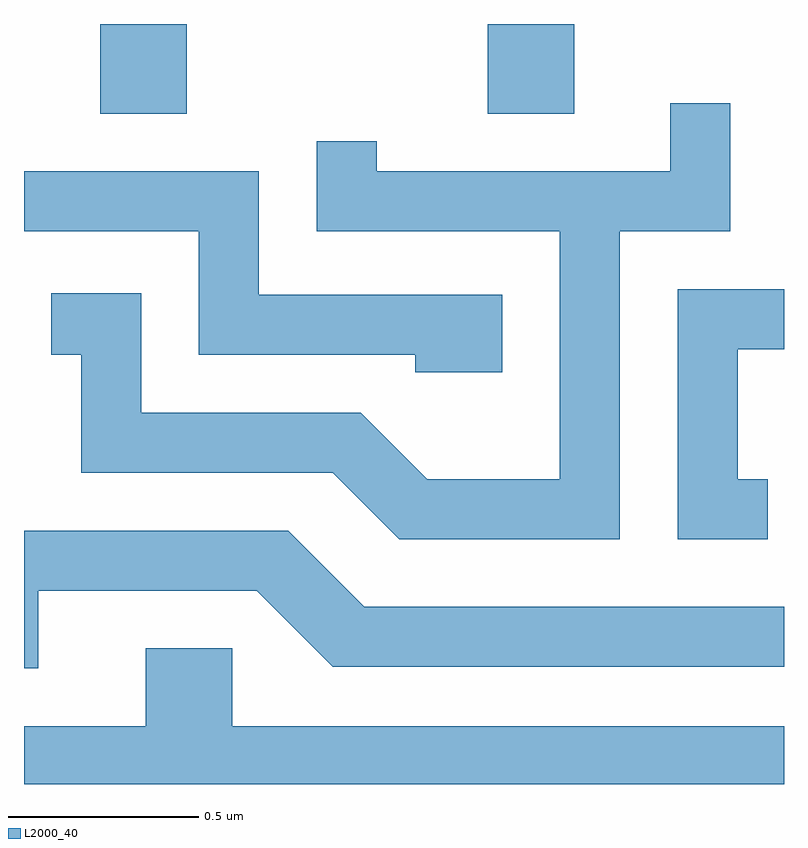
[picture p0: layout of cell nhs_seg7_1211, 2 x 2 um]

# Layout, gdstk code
import gdstk
lib = gdstk.Library(unit=1e-6, precision=1e-09)
def R(c, l, rs):  # rectangles x0, y0, x1, y1
    for r in rs: c.add(gdstk.rectangle(r[:2], r[2:], *l))
def P(c, l, *ps):  # polygons
    for p in ps: c.add(gdstk.Polygon(p, *l))
L2000_40 = (2000, 40)

nhs_seg7_1211 = lib.new_cell('nhs_seg7_1211')
R(nhs_seg7_1211, L2000_40, [(193.811,1785.016,194.039,1785.252), (194.831,1785.016,195.059,1785.252)])
P(nhs_seg7_1211, L2000_40, [(195.179,1784.706),(195.469,1784.706),(195.469,1785.043),(195.311,1785.043),(195.311,1784.864),(194.539,1784.864),(194.539,1784.943),(194.381,1784.943),(194.381,1784.706),(195.021,1784.706),(195.021,1784.054),(194.672,1784.054),(194.497,1784.229),(193.919,1784.229),(193.919,1784.544),(193.683,1784.544),(193.683,1784.381),(193.761,1784.381),(193.761,1784.071),(194.424,1784.071),(194.599,1783.896),(195.179,1783.896)],
  [(194.869,1784.539),(194.229,1784.539),(194.229,1784.864),(193.611,1784.864),(193.611,1784.706),(194.071,1784.706),(194.071,1784.381),(194.641,1784.381),(194.641,1784.336),(194.869,1784.336)],
  [(195.568,1784.054),(195.489,1784.054),(195.489,1784.396),(195.611,1784.396),(195.611,1784.554),(195.331,1784.554),(195.331,1783.896),(195.568,1783.896)],
  [(193.649,1783.761),(194.224,1783.761),(194.424,1783.561),(195.611,1783.561),(195.611,1783.719),(194.507,1783.719),(194.307,1783.919),(193.611,1783.919),(193.611,1783.556),(193.649,1783.556)],
  [(195.611,1783.404),(194.159,1783.404),(194.159,1783.609),(193.931,1783.609),(193.931,1783.404),(193.611,1783.404),(193.611,1783.252),(195.611,1783.252)])

lib.write_gds('nhs_seg7_1211.gds')
